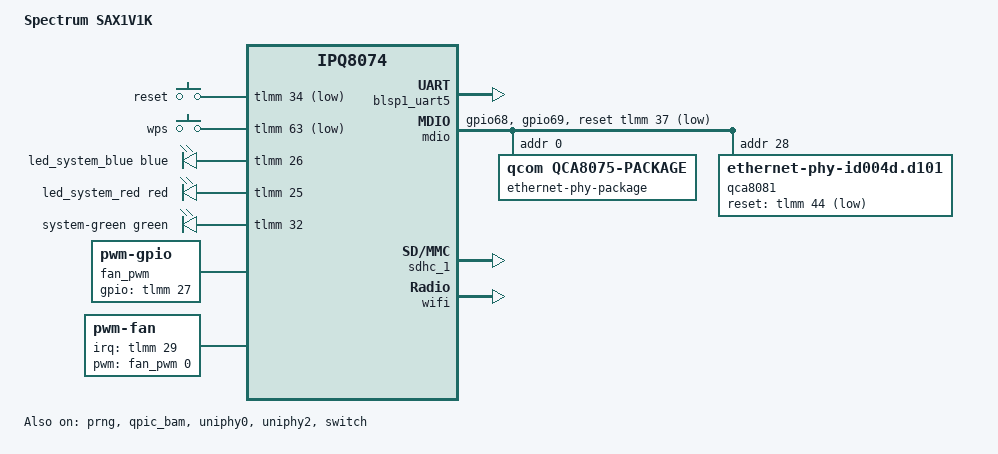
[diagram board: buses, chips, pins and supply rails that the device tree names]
// SPDX-License-Identifier: GPL-2.0-or-later OR MIT

/dts-v1/;

#include "ipq8074.dtsi"
#include "ipq8074-hk-cpu.dtsi"
#include "ipq8074-ess.dtsi"
#include <dt-bindings/gpio/gpio.h>
#include <dt-bindings/input/input.h>
#include <dt-bindings/interrupt-controller/irq.h>
#include <dt-bindings/leds/common.h>

/ {
	model = "Spectrum SAX1V1K";
	compatible = "spectrum,sax1v1k", "qcom,ipq8074";

	aliases {
		led-boot = &led_system_red;
		led-failsafe = &led_system_red;
		led-running = &led_system_blue;
		led-upgrade = &led_system_red;
		serial0 = &blsp1_uart5;
		/* Aliases as required by u-boot to patch MAC addresses */
		ethernet0 = &swport6;
		ethernet1 = &swport4;
		ethernet2 = &swport3;
		ethernet3 = &swport2;
		label-mac-device = &swport6;
	};

	chosen {
		stdout-path = "serial0:115200n8";
	};

	keys {
		compatible = "gpio-keys";
		pinctrl-0 = <&button_pins>;
		pinctrl-names = "default";

		reset {
			label = "reset";
			gpios = <&tlmm 34 GPIO_ACTIVE_LOW>;
			linux,code = <KEY_RESTART>;
			debounce-interval = <60>;
		};

		wps {
			label = "wps";
			gpios = <&tlmm 63 GPIO_ACTIVE_LOW>;
			linux,code = <KEY_WPS_BUTTON>;
			debounce-interval = <60>;
		};
	};

	leds {
		compatible = "gpio-leds";

		led_system_blue: system-blue {
			gpios = <&tlmm 26 GPIO_ACTIVE_HIGH>;
			color = <LED_COLOR_ID_BLUE>;
			function = LED_FUNCTION_STATUS;
		};

		led_system_red: system-red {
			gpios = <&tlmm 25 GPIO_ACTIVE_HIGH>;
			color = <LED_COLOR_ID_RED>;
			function = LED_FUNCTION_STATUS;
		};

		system-green {
			gpios = <&tlmm 32 GPIO_ACTIVE_HIGH>;
			color = <LED_COLOR_ID_GREEN>;
			function = LED_FUNCTION_STATUS;
		};
	};

	/*
	 * The fan's speed input is on GPIO 27 (high = full speed). The SoC's
	 * PWM block can drive that pin, but it is not supported on IPQ807x
	 * yet, so use software PWM on the GPIO.
	 */
	fan_pwm: pwm-gpio {
		compatible = "pwm-gpio";
		gpios = <&tlmm 27 GPIO_ACTIVE_HIGH>;
		#pwm-cells = <3>;
	};

	fan: pwm-fan {
		compatible = "pwm-fan";
		pwms = <&fan_pwm 0 1000000 0>;
		#cooling-cells = <2>;
		cooling-levels = <0 77 153 255>;
		/* tachometer on GPIO 29, two pulses per revolution */
		pinctrl-0 = <&fan_tach_pins>;
		pinctrl-names = "default";
		interrupts-extended = <&tlmm 29 IRQ_TYPE_EDGE_FALLING>;
		pulses-per-revolution = <2>;
	};
};

&cluster_thermal {
	polling-delay = <2000>;

	trips {
		cluster_fan_low: cluster-fan-low {
			temperature = <50000>;
			hysteresis = <3000>;
			type = "active";
		};

		cluster_fan_mid: cluster-fan-mid {
			temperature = <65000>;
			hysteresis = <3000>;
			type = "active";
		};

		cluster_fan_high: cluster-fan-high {
			temperature = <80000>;
			hysteresis = <3000>;
			type = "active";
		};
	};

	cooling-maps {
		map0 {
			trip = <&cluster_fan_low>;
			cooling-device = <&fan 1 1>;
		};

		map1 {
			trip = <&cluster_fan_mid>;
			cooling-device = <&fan 2 2>;
		};

		map2 {
			trip = <&cluster_fan_high>;
			cooling-device = <&fan 3 3>;
		};
	};
};

&tlmm {
	button_pins: button-pins {
		reset-pins {
			pins = "gpio34";
			function = "gpio";
			drive-strength = <8>;
			bias-pull-up;
		};

		wps-pins {
			pins = "gpio63";
			function = "gpio";
			drive-strength = <8>;
			bias-pull-up;
		};
	};

	fan_tach_pins: fan-tach-pins {
		pins = "gpio29";
		function = "gpio";
		drive-strength = <8>;
		bias-pull-up;
	};

	mdio_pins: mdio-pins {
		mdc {
			pins = "gpio68";
			function = "mdc";
			drive-strength = <8>;
			bias-pull-up;
		};

		mdio {
			pins = "gpio69";
			function = "mdio";
			drive-strength = <8>;
			bias-pull-up;
		};
	};
};

&blsp1_uart5 {
	status = "okay";
};

&prng {
	status = "okay";
};

&qpic_bam {
	status = "okay";
};

&mdio {
	pinctrl-0 = <&mdio_pins>;
	pinctrl-names = "default";
	reset-gpios = <&tlmm 37 GPIO_ACTIVE_LOW>;
	status = "okay";

	ethernet-phy-package@0 {
		#address-cells = <1>;
		#size-cells = <0>;
		compatible = "qcom,qca8075-package";
		reg = <0>;

		qcom,package-mode = "qsgmii";

		qca8075_1: ethernet-phy@1 {
			compatible = "ethernet-phy-ieee802.3-c22";
			reg = <1>;
		};

		qca8075_2: ethernet-phy@2 {
			compatible = "ethernet-phy-ieee802.3-c22";
			reg = <2>;
		};

		qca8075_3: ethernet-phy@3 {
			compatible = "ethernet-phy-ieee802.3-c22";
			reg = <3>;
		};
	};

	qca8081: ethernet-phy@28 {
		compatible = "ethernet-phy-id004d.d101";
		reg = <28>;
		reset-gpios = <&tlmm 44 GPIO_ACTIVE_LOW>;
		reset-deassert-us = <10000>;

		leds {
			#address-cells = <1>;
			#size-cells = <0>;

			led@0 {
				reg = <0>;
				color = <LED_COLOR_ID_YELLOW>;
				function = LED_FUNCTION_WAN;
				default-state = "keep";
				active-low;
			};

			led@2 {
				reg = <2>;
				color = <LED_COLOR_ID_GREEN>;
				function = LED_FUNCTION_WAN;
				default-state = "keep";
				active-low;
			};
		};
	};
};

&sdhc_1 {
	/* Following same rule as QNAP 301W
	 * the emmc has a problem with the hs400 > hs200 speed switch.
	 * Therefore remove the mmc-hs400-1_8v property
	*/
	/delete-property/ mmc-hs400-1_8v;
	mmc-hs200-1_8v;
	mmc-ddr-1_8v;
	vqmmc-supply = <&l11>;
	status = "okay";
};

&uniphy0 {
	status = "okay";
};

&uniphy2 {
	status = "okay";
};

&switch {
	status = "okay";

	ports {
		#address-cells = <1>;
		#size-cells = <0>;

		port@0 {
			reg = <0>;
			ethernet = <&edma>;
			phy-mode = "internal";

			fixed-link {
				speed = <1000>;
				full-duplex;
			};
		};

		swport2: port@2 {
			reg = <2>;
			label = "lan3";
			phy-handle = <&qca8075_1>;
			phy-mode = "qsgmii";
			pcs-handle = <&uniphy0 1>;
		};

		swport3: port@3 {
			reg = <3>;
			label = "lan2";
			phy-handle = <&qca8075_2>;
			phy-mode = "qsgmii";
			pcs-handle = <&uniphy0 2>;
		};

		swport4: port@4 {
			reg = <4>;
			label = "lan1";
			phy-handle = <&qca8075_3>;
			phy-mode = "qsgmii";
			pcs-handle = <&uniphy0 3>;
		};

		swport6: port@6 {
			reg = <6>;
			label = "wan";
			phy-handle = <&qca8081>;
			phy-mode = "2500base-x";
			pcs-handle = <&uniphy2 0>;
		};
	};
};

&edma {
	status = "okay";
};

&wifi {
	qcom,calibration-variant = "Spectrum-SAX1V1K";
	status = "okay";
};
